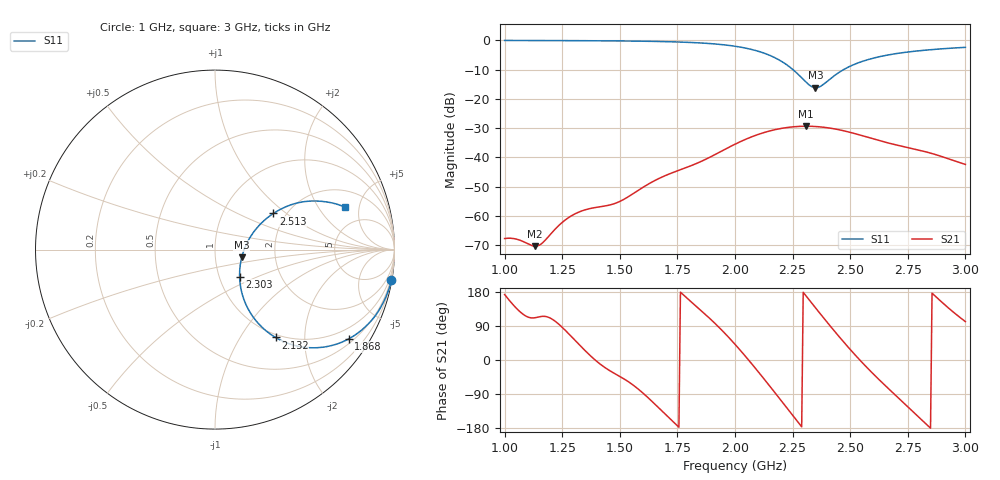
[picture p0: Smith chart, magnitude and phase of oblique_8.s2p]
! TOUCHSTONE file generated by CST MICROWAVE STUDIO
! Date and time: Tue Mar 18 00:00:45 2025
! Project name: oblique.cst
! Parameters = {Tilt=30; Fracture=1; B=10; D=160; F=5; Feed=2.85625; L=100; M=50; R=0.384908; S=1; Theta=180; length=57.125; wave=114.25}
! Header version: 2024
! Port assignment regex: !\s*Touchstone port\s*([0-9]+)\s*=\s*(CST MWS port|CST DES external port|CST DES block port)\s*(.+)\s* \(\"(.*)\"\)(\s*mode\s*([0-9]+))?.*
! Touchstone port assignment:
! Touchstone port 1 = CST MWS port 1 ("")
! Touchstone port 2 = CST MWS port 2 ("")
# GHz S DB R 50
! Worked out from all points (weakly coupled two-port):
!   305 points, 1 GHz to 3 GHz, reference 50 ohm
!   highest |S21| = -29.35 dB at 2.309 GHz (marker M1); lowest = -70.4 dB at 1.132 GHz (marker M2)
!   lowest |S11| = -16.2 dB at 2.349 GHz (marker M3), VSWR 1.37, Z = 67.2 - j5.95 ohm
!   |S11| at or under -10 dB: 2.252 GHz to 2.471 GHz (219.5 MHz wide, 9.3 % of centre)
!   S12 and S22 are empty: the file has one direction only
!   S11 on the Smith chart (normalised r, x): 1 GHz: 0, -12; 1.868 GHz: 0.63, -3.18; 2.132 GHz: 0.95, -1.44; 2.303 GHz: 1.25, -0.39; 2.513 GHz: 1.72, +0.81; 3 GHz: 3.18, +3.56
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1  -0.02 -9.8  -67.76 172.8  -200.00 0.0  -200.00 0.0
1.05263  -0.03 -10.5  -67.98 135.5  -200.00 0.0  -200.00 0.0
1.13158  -0.04 -11.7  -70.37 111.5  -200.00 0.0  -200.00 0.0
1.16447  -0.05 -12.2  -69.24 115.2  -200.00 0.0  -200.00 0.0
1.26316  -0.08 -13.8  -61.41 78.5  -200.00 0.0  -200.00 0.0
1.33553  -0.10 -15.2  -58.30 33.2  -200.00 0.0  -200.00 0.0
1.49342  -0.18 -18.7  -55.30 -41.2  -200.00 0.0  -200.00 0.0
1.67105  -0.38 -24.2  -47.17 -127.5  -200.00 0.0  -200.00 0.0
1.86842  -0.96 -33.8  -40.82 121.9  -200.00 0.0  -200.00 0.0
2  -2.00 -43.4  -35.50 41.5  -200.00 0.0  -200.00 0.0
2.13158  -4.52 -55.5  -31.38 -54.2  -200.00 0.0  -200.00 0.0
2.22368  -8.29 -60.8  -29.82 -125.2  -200.00 0.0  -200.00 0.0
2.30263  -13.83 -47.7  -29.36 173.6  -200.00 0.0  -200.00 0.0
2.30921  -14.34 -44.5  -29.35 168.5  -200.00 0.0  -200.00 0.0
2.33553  -15.91 -27.0  -29.40 148.2  -200.00 0.0  -200.00 0.0
2.34868  -16.19 -16.2  -29.45 138.2  -200.00 0.0  -200.00 0.0
2.375  -15.52 4.1  -29.62 118.2  -200.00 0.0  -200.00 0.0
2.42763  -12.28 25.3  -30.20 79.1  -200.00 0.0  -200.00 0.0
2.51316  -8.36 31.8  -31.72 18.9  -200.00 0.0  -200.00 0.0
2.67105  -4.89 28.1  -35.20 -78.4  -200.00 0.0  -200.00 0.0
2.84211  -3.23 22.4  -38.40 -176.2  -200.00 0.0  -200.00 0.0
3  -2.38 18.1  -42.41 101.3  -200.00 0.0  -200.00 0.0
